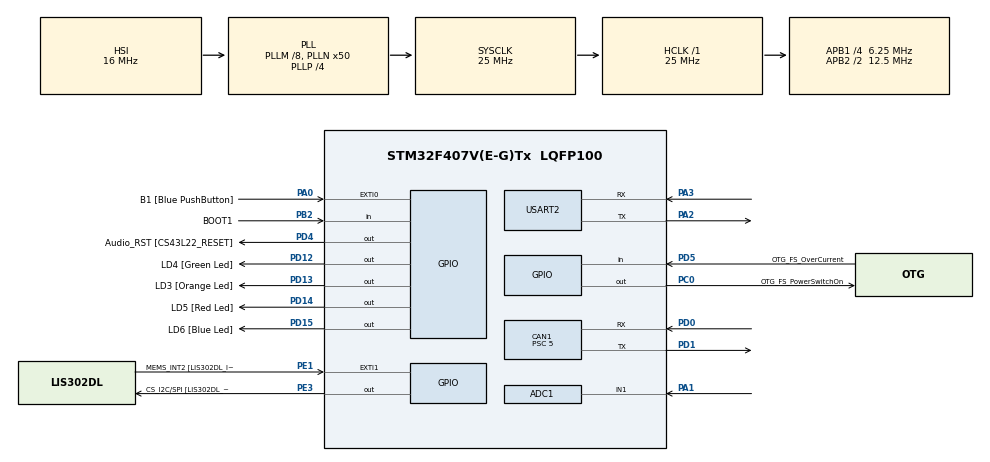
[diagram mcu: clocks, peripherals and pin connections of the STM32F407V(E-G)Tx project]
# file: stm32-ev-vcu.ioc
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ADC1.Channel-0\#ChannelRegularConversion=ADC_CHANNEL_1
ADC1.NbrOfConversionFlag=1
ADC1.Rank-0\#ChannelRegularConversion=1
ADC1.SamplingTime-0\#ChannelRegularConversion=ADC_SAMPLETIME_3CYCLES
ADC1.master=1
CAN1.BS1=CAN_BS1_3TQ
CAN1.CalculateBaudRate=250000
CAN1.CalculateTimeBit=4000
CAN1.CalculateTimeQuantum=800.0
CAN1.Prescaler=5
FREERTOS.Tasks01=defaultTask,24,128,StartDefaultTask,Default,NULL,Dynamic,NULL,NULL
Mcu.Family=STM32F4
Mcu.Name=STM32F407V(E-G)Tx
Mcu.Package=LQFP100
NVIC.CAN1_RX0_IRQn=true\:5\:0\:false\:false\:true\:true\:true\:true\:true
NVIC.PriorityGroup=NVIC_PRIORITYGROUP_4
NVIC.TIM6_DAC_IRQn=true\:15\:0\:false\:false\:true\:false\:false\:true\:true
NVIC.TimeBase=TIM6_DAC_IRQn
NVIC.TimeBaseIP=TIM6
PA0-WKUP.GPIO_Label=B1 [Blue PushButton]
PA0-WKUP.Signal=GPXTI0
PA1.Signal=ADCx_IN1
PA10.GPIO_Label=OTG_FS_ID
PA10.GPIO_Mode=GPIO_MODE_AF_PP
PA10.GPIO_PuPd=GPIO_NOPULL
PA10.GPIO_Speed=GPIO_SPEED_FREQ_LOW
PA10.Signal=USB_OTG_FS_ID
PA11.GPIO_Label=OTG_FS_DM
PA11.GPIO_Mode=GPIO_MODE_AF_PP
PA11.GPIO_PuPd=GPIO_NOPULL
PA11.GPIO_Speed=GPIO_SPEED_FREQ_LOW
PA11.Signal=USB_OTG_FS_DM
PA12.GPIO_Label=OTG_FS_DP
PA12.GPIO_Mode=GPIO_MODE_AF_PP
PA12.GPIO_PuPd=GPIO_NOPULL
PA12.GPIO_Speed=GPIO_SPEED_FREQ_LOW
PA12.Signal=USB_OTG_FS_DP
PA13.GPIO_Label=SWDIO
PA13.Signal=SYS_JTMS-SWDIO
PA14.GPIO_Label=SWCLK
PA14.Signal=SYS_JTCK-SWCLK
PA2.Mode=Asynchronous
PA2.Signal=USART2_TX
PA3.Mode=Asynchronous
PA3.Signal=USART2_RX
PA4.GPIO_Label=I2S3_WS [CS43L22_LRCK]
PA4.GPIO_Mode=GPIO_MODE_AF_PP
PA4.GPIO_PuPd=GPIO_NOPULL
PA4.GPIO_Speed=GPIO_SPEED_FREQ_LOW
PA4.Signal=I2S3_WS
PA5.GPIO_Label=SPI1_SCK [LIS302DL_SCL/SPC]
PA5.GPIO_Mode=GPIO_MODE_AF_PP
PA5.GPIO_PuPd=GPIO_NOPULL
PA5.GPIO_Speed=GPIO_SPEED_FREQ_LOW
PA5.Signal=SPI1_SCK
PA6.GPIO_Label=SPI1_MISO [LIS302DL_SDO]
PA6.GPIO_Mode=GPIO_MODE_AF_PP
PA6.GPIO_PuPd=GPIO_NOPULL
PA6.GPIO_Speed=GPIO_SPEED_FREQ_LOW
PA6.Signal=SPI1_MISO
PA7.GPIO_Label=SPI1_MOSI [LIS302DL_SDA/SDI/SDO]
PA7.GPIO_Mode=GPIO_MODE_AF_PP
PA7.GPIO_PuPd=GPIO_NOPULL
PA7.GPIO_Speed=GPIO_SPEED_FREQ_LOW
PA7.Signal=SPI1_MOSI
PA9.GPIO_Label=VBUS_FS
PA9.GPIO_Mode=GPIO_MODE_INPUT
PA9.GPIO_PuPd=GPIO_NOPULL
PA9.Signal=USB_OTG_FS_VBUS
PB10.GPIO_Label=CLK_IN [MP45DT02_CLK]
PB10.GPIO_Mode=GPIO_MODE_AF_PP
PB10.GPIO_PuPd=GPIO_NOPULL
PB10.GPIO_Speed=GPIO_SPEED_FREQ_LOW
PB10.Signal=I2S2_CK
PB2.GPIO_Label=BOOT1
PB2.GPIO_Mode=GPIO_MODE_INPUT
PB2.GPIO_PuPd=GPIO_NOPULL
PB2.Signal=GPIO_Input
PB3.GPIO_Label=SWO
PB3.Signal=SYS_JTDO-SWO
PB6.GPIO_Label=Audio_SCL [CS43L22_SCL]
PB6.GPIO_Mode=GPIO_MODE_AF_OD
PB6.GPIO_PuPd=GPIO_NOPULL
PB6.GPIO_Speed=GPIO_SPEED_FREQ_LOW
PB6.Signal=I2C1_SCL
PB9.GPIO_Label=Audio_SDA [CS43L22_SDA]
PB9.GPIO_Mode=GPIO_MODE_AF_OD
PB9.GPIO_PuPd=GPIO_NOPULL
PB9.GPIO_Speed=GPIO_SPEED_FREQ_LOW
PB9.Signal=I2C1_SDA
PC0.GPIO_Label=OTG_FS_PowerSwitchOn
PC0.GPIO_PuPd=GPIO_NOPULL
PC0.GPIO_Speed=GPIO_SPEED_FREQ_LOW
PC0.PinState=GPIO_PIN_SET
PC0.Signal=GPIO_Output
PC10.GPIO_Label=I2S3_SCK [CS43L22_SCLK]
PC10.GPIO_Mode=GPIO_MODE_AF_PP
PC10.GPIO_PuPd=GPIO_NOPULL
PC10.GPIO_Speed=GPIO_SPEED_FREQ_LOW
PC10.Signal=I2S3_CK
PC12.GPIO_Label=I2S3_SD [CS43L22_SDIN]
PC12.GPIO_Mode=GPIO_MODE_AF_PP
PC12.GPIO_PuPd=GPIO_NOPULL
PC12.GPIO_Speed=GPIO_SPEED_FREQ_LOW
PC12.Signal=I2S3_SD
PC14-OSC32_IN.GPIO_Label=PC14-OSC32_IN
PC14-OSC32_IN.Signal=RCC_OSC32_IN
PC15-OSC32_OUT.GPIO_Label=PC15-OSC32_OUT
PC15-OSC32_OUT.Signal=RCC_OSC32_OUT
PC3.GPIO_Label=PDM_OUT [MP45DT02_DOUT]
PC3.GPIO_Mode=GPIO_MODE_AF_PP
PC3.GPIO_PuPd=GPIO_NOPULL
PC3.GPIO_Speed=GPIO_SPEED_FREQ_LOW
PC3.Signal=I2S2_SD
PC7.GPIO_Label=I2S3_MCK [CS43L22_MCLK]
PC7.GPIO_Mode=GPIO_MODE_AF_PP
PC7.GPIO_PuPd=GPIO_NOPULL
PC7.GPIO_Speed=GPIO_SPEED_FREQ_LOW
PC7.Signal=I2S3_MCK
PD0.Mode=CAN_Activate
PD0.Signal=CAN1_RX
PD1.Mode=CAN_Activate
PD1.Signal=CAN1_TX
PD12.GPIO_Label=LD4 [Green Led]
PD12.GPIO_PuPd=GPIO_NOPULL
PD12.GPIO_Speed=GPIO_SPEED_FREQ_LOW
PD12.Signal=GPIO_Output
PD13.GPIO_Label=LD3 [Orange Led]
PD13.GPIO_PuPd=GPIO_NOPULL
PD13.GPIO_Speed=GPIO_SPEED_FREQ_LOW
PD13.Signal=GPIO_Output
PD14.GPIO_Label=LD5 [Red Led]
PD14.GPIO_PuPd=GPIO_NOPULL
PD14.GPIO_Speed=GPIO_SPEED_FREQ_LOW
PD14.Signal=GPIO_Output
PD15.GPIO_Label=LD6 [Blue Led]
PD15.GPIO_PuPd=GPIO_NOPULL
PD15.GPIO_Speed=GPIO_SPEED_FREQ_LOW
PD15.Signal=GPIO_Output
PD4.GPIO_Label=Audio_RST [CS43L22_RESET]
PD4.GPIO_PuPd=GPIO_NOPULL
PD4.GPIO_Speed=GPIO_SPEED_FREQ_LOW
PD4.Signal=GPIO_Output
PD5.GPIO_Label=OTG_FS_OverCurrent
PD5.GPIO_Mode=GPIO_MODE_INPUT
PD5.GPIO_PuPd=GPIO_NOPULL
PD5.Signal=GPIO_Input
PE1.GPIO_Label=MEMS_INT2 [LIS302DL_INT2]
PE1.GPIO_ModeDefaultEXTI=GPIO_MODE_EVT_RISING
PE1.GPIO_PuPd=GPIO_NOPULL
PE1.Signal=GPXTI1
PE3.GPIO_Label=CS_I2C/SPI [LIS302DL_CS_I2C/SPI]
PE3.GPIO_PuPd=GPIO_NOPULL
PE3.GPIO_Speed=GPIO_SPEED_FREQ_LOW
PE3.Signal=GPIO_Output
PH0-OSC_IN.GPIO_Label=PH0-OSC_IN
PH0-OSC_IN.Signal=RCC_OSC_IN
PH1-OSC_OUT.GPIO_Label=PH1-OSC_OUT
PH1-OSC_OUT.Signal=RCC_OSC_OUT
ProjectManager.HeapSize=0x200
ProjectManager.StackSize=0x400
ProjectManager.TargetToolchain=STM32CubeIDE
RCC.48MHZClocksFreq_Value=14285714.285714285
RCC.AHBFreq_Value=25000000
RCC.APB1CLKDivider=RCC_HCLK_DIV4
RCC.APB1Freq_Value=6250000
RCC.APB1TimFreq_Value=12500000
RCC.APB2CLKDivider=RCC_HCLK_DIV2
RCC.APB2Freq_Value=12500000
RCC.APB2TimFreq_Value=25000000
RCC.CortexFreq_Value=25000000
RCC.HCLKFreq_Value=25000000
RCC.HSE_VALUE=8000000
RCC.HSI_VALUE=16000000
RCC.LSE_VALUE=32768
RCC.PLLM=8
RCC.PLLN=50
RCC.PLLP=RCC_PLLP_DIV4
RCC.PLLQ=7
RCC.SYSCLKFreq_VALUE=25000000
RCC.SYSCLKSource=RCC_SYSCLKSOURCE_PLLCLK
RCC.VCOOutputFreq_Value=100000000
SH.ADCx_IN1.0=ADC1_IN1,IN1
USART2.VirtualMode=VM_ASYNC
VP_FREERTOS_VS_CMSIS_V2.Mode=CMSIS_V2
VP_SYS_VS_tim6.Mode=TIM6
board=STM32F407G-DISC1

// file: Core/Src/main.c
/* USER CODE BEGIN Header */

/**

  ******************************************************************************

  * @file           : main.c

  * @brief          : Main program body

  ******************************************************************************

  * @attention

  *

  * Copyright (c) 2026 STMicroelectronics.

  * All rights reserved.

  *

  * This software is licensed under terms that can be found in the LICENSE file

  * in the root directory of this software component.

  * If no LICENSE file comes with this software, it is provided AS-IS.

  *

  ******************************************************************************

  */

/* USER CODE END Header */
#include "main.h"
#include "cmsis_os.h"

/* USER CODE BEGIN Includes */
#include "app.h"
#include "can_bus.h"
#include "ev_config.h"
/* USER CODE END Includes */

ADC_HandleTypeDef hadc1;

CAN_HandleTypeDef hcan1;

UART_HandleTypeDef huart2;

/* Definitions for defaultTask */
osThreadId_t defaultTaskHandle;
const osThreadAttr_t defaultTask_attributes = {
  .name = "defaultTask",
  .stack_size = 128 * 4,
  .priority = (osPriority_t) osPriorityNormal,
};
/* USER CODE BEGIN PV */

/* DiagTask: trace/printf, low priority, slow (must not block control) */
osThreadId_t diagTaskHandle;
const osThreadAttr_t diagTask_attributes = {
  .name = "diagTask",
  .stack_size = 512 * 4,                 /* printf stack-hungry: 2 KB */
  .priority = (osPriority_t) osPriorityLow,
};

/* CanRxTask: decodes raw frames from the queue, high priority */
osThreadId_t canRxTaskHandle;
const osThreadAttr_t canRxTask_attributes = {
  .name = "canRxTask",
  .stack_size = 256 * 4,                 /* decode only, no printf: 1 KB */
  .priority = (osPriority_t) osPriorityAboveNormal,
};

/* USER CODE END PV */

void SystemClock_Config(void);
static void MX_GPIO_Init(void);
static void MX_ADC1_Init(void);
static void MX_USART2_UART_Init(void);
static void MX_CAN1_Init(void);
void StartDefaultTask(void *argument);

/* USER CODE BEGIN PFP */
void StartDiagTask(void *argument);
void StartCanRxTask(void *argument);
/* USER CODE END PFP */

int main(void)
{

  /* MCU Configuration--------------------------------------------------------*/

  /* Reset of all peripherals, Initializes the Flash interface and the Systick. */
  HAL_Init();

  /* Configure the system clock */
  SystemClock_Config();

  /* Initialize all configured peripherals */
  MX_GPIO_Init();
  MX_ADC1_Init();
  MX_USART2_UART_Init();
  MX_CAN1_Init();
  /* USER CODE BEGIN 2 */
  App_Init();
  /* USER CODE END 2 */

  /* Init scheduler */
  osKernelInitialize();

  /* USER CODE BEGIN RTOS_QUEUES */
  /* Create the RX queue + status mutex (must be after kernel init) */
  CanBus_Init(&hcan1);
  /* USER CODE END RTOS_QUEUES */

  /* Create the thread(s) */
  /* creation of defaultTask */
  defaultTaskHandle = osThreadNew(StartDefaultTask, NULL, &defaultTask_attributes);

  /* USER CODE BEGIN RTOS_THREADS */
  diagTaskHandle = osThreadNew(StartDiagTask, NULL, &diagTask_attributes);
  canRxTaskHandle = osThreadNew(StartCanRxTask, NULL, &canRxTask_attributes);
  /* USER CODE END RTOS_THREADS */

  /* Start scheduler */
  osKernelStart();

  /* We should never get here as control is now taken by the scheduler */

  /* Infinite loop */
  while (1)
  {

    /* USER CODE BEGIN 3 */
    /* osKernelStart() */
  /* USER CODE END 3 */
  }
}

void SystemClock_Config(void)
{
  RCC_OscInitTypeDef RCC_OscInitStruct = {0};
  RCC_ClkInitTypeDef RCC_ClkInitStruct = {0};

  /** Configure the main internal regulator output voltage
  */
  __HAL_RCC_PWR_CLK_ENABLE();
  __HAL_PWR_VOLTAGESCALING_CONFIG(PWR_REGULATOR_VOLTAGE_SCALE1);

  /** Initializes the RCC Oscillators according to the specified parameters
  * in the RCC_OscInitTypeDef structure.
  */
  RCC_OscInitStruct.OscillatorType = RCC_OSCILLATORTYPE_HSI;
  RCC_OscInitStruct.HSIState = RCC_HSI_ON;
  RCC_OscInitStruct.HSICalibrationValue = RCC_HSICALIBRATION_DEFAULT;
  RCC_OscInitStruct.PLL.PLLState = RCC_PLL_ON;
  RCC_OscInitStruct.PLL.PLLSource = RCC_PLLSOURCE_HSI;
  RCC_OscInitStruct.PLL.PLLM = 8;
  RCC_OscInitStruct.PLL.PLLN = 50;
  RCC_OscInitStruct.PLL.PLLP = RCC_PLLP_DIV4;
  RCC_OscInitStruct.PLL.PLLQ = 7;
  if (HAL_RCC_OscConfig(&RCC_OscInitStruct) != HAL_OK)
  {
    Error_Handler();
  }

  /** Initializes the CPU, AHB and APB buses clocks
  */
  RCC_ClkInitStruct.ClockType = RCC_CLOCKTYPE_HCLK|RCC_CLOCKTYPE_SYSCLK
                              |RCC_CLOCKTYPE_PCLK1|RCC_CLOCKTYPE_PCLK2;
  RCC_ClkInitStruct.SYSCLKSource = RCC_SYSCLKSOURCE_PLLCLK;
  RCC_ClkInitStruct.AHBCLKDivider = RCC_SYSCLK_DIV1;
  RCC_ClkInitStruct.APB1CLKDivider = RCC_HCLK_DIV4;
  RCC_ClkInitStruct.APB2CLKDivider = RCC_HCLK_DIV2;

  if (HAL_RCC_ClockConfig(&RCC_ClkInitStruct, FLASH_LATENCY_0) != HAL_OK)
  {
    Error_Handler();
  }
}

static void MX_ADC1_Init(void)
{

  ADC_ChannelConfTypeDef sConfig = {0};

  /** Configure the global features of the ADC (Clock, Resolution, Data Alignment and number of conversion)
  */
  hadc1.Instance = ADC1;
  hadc1.Init.ClockPrescaler = ADC_CLOCK_SYNC_PCLK_DIV2;
  hadc1.Init.Resolution = ADC_RESOLUTION_12B;
  hadc1.Init.ScanConvMode = DISABLE;
  hadc1.Init.ContinuousConvMode = DISABLE;
  hadc1.Init.DiscontinuousConvMode = DISABLE;
  hadc1.Init.ExternalTrigConvEdge = ADC_EXTERNALTRIGCONVEDGE_NONE;
  hadc1.Init.ExternalTrigConv = ADC_SOFTWARE_START;
  hadc1.Init.DataAlign = ADC_DATAALIGN_RIGHT;
  hadc1.Init.NbrOfConversion = 1;
  hadc1.Init.DMAContinuousRequests = DISABLE;
  hadc1.Init.EOCSelection = ADC_EOC_SINGLE_CONV;
  if (HAL_ADC_Init(&hadc1) != HAL_OK)
  {
    Error_Handler();
  }

  /** Configure for the selected ADC regular channel its corresponding rank in the sequencer and its sample time.
  */
  sConfig.Channel = ADC_CHANNEL_1;
  sConfig.Rank = 1;
  sConfig.SamplingTime = ADC_SAMPLETIME_3CYCLES;
  if (HAL_ADC_ConfigChannel(&hadc1, &sConfig) != HAL_OK)
  {
    Error_Handler();
  }

}

static void MX_CAN1_Init(void)
{

  hcan1.Instance = CAN1;
  hcan1.Init.Prescaler = 5;
  hcan1.Init.Mode = CAN_MODE_NORMAL;
  hcan1.Init.SyncJumpWidth = CAN_SJW_1TQ;
  hcan1.Init.TimeSeg1 = CAN_BS1_3TQ;
  hcan1.Init.TimeSeg2 = CAN_BS2_1TQ;
  hcan1.Init.TimeTriggeredMode = DISABLE;
  hcan1.Init.AutoBusOff = DISABLE;
  hcan1.Init.AutoWakeUp = DISABLE;
  hcan1.Init.AutoRetransmission = DISABLE;
  hcan1.Init.ReceiveFifoLocked = DISABLE;
  hcan1.Init.TransmitFifoPriority = DISABLE;
  if (HAL_CAN_Init(&hcan1) != HAL_OK)
  {
    Error_Handler();
  }

}

static void MX_USART2_UART_Init(void)
{

  huart2.Instance = USART2;
  huart2.Init.BaudRate = 115200;
  huart2.Init.WordLength = UART_WORDLENGTH_8B;
  huart2.Init.StopBits = UART_STOPBITS_1;
  huart2.Init.Parity = UART_PARITY_NONE;
  huart2.Init.Mode = UART_MODE_TX_RX;
  huart2.Init.HwFlowCtl = UART_HWCONTROL_NONE;
  huart2.Init.OverSampling = UART_OVERSAMPLING_16;
  if (HAL_UART_Init(&huart2) != HAL_OK)
  {
    Error_Handler();
  }

}

static void MX_GPIO_Init(void)
{
  GPIO_InitTypeDef GPIO_InitStruct = {0};

  /* GPIO Ports Clock Enable */
  __HAL_RCC_GPIOE_CLK_ENABLE();
  __HAL_RCC_GPIOC_CLK_ENABLE();
  __HAL_RCC_GPIOH_CLK_ENABLE();
  __HAL_RCC_GPIOA_CLK_ENABLE();
  __HAL_RCC_GPIOB_CLK_ENABLE();
  __HAL_RCC_GPIOD_CLK_ENABLE();

  /*Configure GPIO pin Output Level */
  HAL_GPIO_WritePin(CS_I2C_SPI_GPIO_Port, CS_I2C_SPI_Pin, GPIO_PIN_RESET);

  /*Configure GPIO pin Output Level */
  HAL_GPIO_WritePin(OTG_FS_PowerSwitchOn_GPIO_Port, OTG_FS_PowerSwitchOn_Pin, GPIO_PIN_SET);

  /*Configure GPIO pin Output Level */
  HAL_GPIO_WritePin(GPIOD, LD4_Pin|LD3_Pin|LD5_Pin|LD6_Pin
                          |Audio_RST_Pin, GPIO_PIN_RESET);

  /*Configure GPIO pin : CS_I2C_SPI_Pin */
  GPIO_InitStruct.Pin = CS_I2C_SPI_Pin;
  GPIO_InitStruct.Mode = GPIO_MODE_OUTPUT_PP;
  GPIO_InitStruct.Pull = GPIO_NOPULL;
  GPIO_InitStruct.Speed = GPIO_SPEED_FREQ_LOW;
  HAL_GPIO_Init(CS_I2C_SPI_GPIO_Port, &GPIO_InitStruct);

  /*Configure GPIO pin : OTG_FS_PowerSwitchOn_Pin */
  GPIO_InitStruct.Pin = OTG_FS_PowerSwitchOn_Pin;
  GPIO_InitStruct.Mode = GPIO_MODE_OUTPUT_PP;
  GPIO_InitStruct.Pull = GPIO_NOPULL;
  GPIO_InitStruct.Speed = GPIO_SPEED_FREQ_LOW;
  HAL_GPIO_Init(OTG_FS_PowerSwitchOn_GPIO_Port, &GPIO_InitStruct);

  /*Configure GPIO pin : PDM_OUT_Pin */
  GPIO_InitStruct.Pin = PDM_OUT_Pin;
  GPIO_InitStruct.Mode = GPIO_MODE_AF_PP;
  GPIO_InitStruct.Pull = GPIO_NOPULL;
  GPIO_InitStruct.Speed = GPIO_SPEED_FREQ_LOW;
  GPIO_InitStruct.Alternate = GPIO_AF5_SPI2;
  HAL_GPIO_Init(PDM_OUT_GPIO_Port, &GPIO_InitStruct);

  /*Configure GPIO pin : B1_Pin */
  GPIO_InitStruct.Pin = B1_Pin;
  GPIO_InitStruct.Mode = GPIO_MODE_IT_RISING;
  GPIO_InitStruct.Pull = GPIO_NOPULL;
  HAL_GPIO_Init(B1_GPIO_Port, &GPIO_InitStruct);

  /*Configure GPIO pin : I2S3_WS_Pin */
  GPIO_InitStruct.Pin = I2S3_WS_Pin;
  GPIO_InitStruct.Mode = GPIO_MODE_AF_PP;
  GPIO_InitStruct.Pull = GPIO_NOPULL;
  GPIO_InitStruct.Speed = GPIO_SPEED_FREQ_LOW;
  GPIO_InitStruct.Alternate = GPIO_AF6_SPI3;
  HAL_GPIO_Init(I2S3_WS_GPIO_Port, &GPIO_InitStruct);

  /*Configure GPIO pins : SPI1_SCK_Pin SPI1_MISO_Pin SPI1_MOSI_Pin */
  GPIO_InitStruct.Pin = SPI1_SCK_Pin|SPI1_MISO_Pin|SPI1_MOSI_Pin;
  GPIO_InitStruct.Mode = GPIO_MODE_AF_PP;
  GPIO_InitStruct.Pull = GPIO_NOPULL;
  GPIO_InitStruct.Speed = GPIO_SPEED_FREQ_LOW;
  GPIO_InitStruct.Alternate = GPIO_AF5_SPI1;
  HAL_GPIO_Init(GPIOA, &GPIO_InitStruct);

  /*Configure GPIO pin : BOOT1_Pin */
  GPIO_InitStruct.Pin = BOOT1_Pin;
  GPIO_InitStruct.Mode = GPIO_MODE_INPUT;
  GPIO_InitStruct.Pull = GPIO_NOPULL;
  HAL_GPIO_Init(BOOT1_GPIO_Port, &GPIO_InitStruct);

  /*Configure GPIO pin : CLK_IN_Pin */
  GPIO_InitStruct.Pin = CLK_IN_Pin;
  GPIO_InitStruct.Mode = GPIO_MODE_AF_PP;
  GPIO_InitStruct.Pull = GPIO_NOPULL;
  GPIO_InitStruct.Speed = GPIO_SPEED_FREQ_LOW;
  GPIO_InitStruct.Alternate = GPIO_AF5_SPI2;
  HAL_GPIO_Init(CLK_IN_GPIO_Port, &GPIO_InitStruct);

  /*Configure GPIO pins : LD4_Pin LD3_Pin LD5_Pin LD6_Pin
                           Audio_RST_Pin */
  GPIO_InitStruct.Pin = LD4_Pin|LD3_Pin|LD5_Pin|LD6_Pin
                          |Audio_RST_Pin;
  GPIO_InitStruct.Mode = GPIO_MODE_OUTPUT_PP;
  GPIO_InitStruct.Pull = GPIO_NOPULL;
  GPIO_InitStruct.Speed = GPIO_SPEED_FREQ_LOW;
  HAL_GPIO_Init(GPIOD, &GPIO_InitStruct);

  /*Configure GPIO pins : I2S3_MCK_Pin I2S3_SCK_Pin I2S3_SD_Pin */
  GPIO_InitStruct.Pin = I2S3_MCK_Pin|I2S3_SCK_Pin|I2S3_SD_Pin;
  GPIO_InitStruct.Mode = GPIO_MODE_AF_PP;
  GPIO_InitStruct.Pull = GPIO_NOPULL;
  GPIO_InitStruct.Speed = GPIO_SPEED_FREQ_LOW;
  GPIO_InitStruct.Alternate = GPIO_AF6_SPI3;
  HAL_GPIO_Init(GPIOC, &GPIO_InitStruct);

  /*Configure GPIO pin : VBUS_FS_Pin */
  GPIO_InitStruct.Pin = VBUS_FS_Pin;
  GPIO_InitStruct.Mode = GPIO_MODE_INPUT;
  GPIO_InitStruct.Pull = GPIO_NOPULL;
  HAL_GPIO_Init(VBUS_FS_GPIO_Port, &GPIO_InitStruct);

  /*Configure GPIO pins : OTG_FS_ID_Pin OTG_FS_DM_Pin OTG_FS_DP_Pin */
  GPIO_InitStruct.Pin = OTG_FS_ID_Pin|OTG_FS_DM_Pin|OTG_FS_DP_Pin;
  GPIO_InitStruct.Mode = GPIO_MODE_AF_PP;
  GPIO_InitStruct.Pull = GPIO_NOPULL;
  GPIO_InitStruct.Speed = GPIO_SPEED_FREQ_LOW;
  GPIO_InitStruct.Alternate = GPIO_AF10_OTG_FS;
  HAL_GPIO_Init(GPIOA, &GPIO_InitStruct);

  /*Configure GPIO pin : OTG_FS_OverCurrent_Pin */
  GPIO_InitStruct.Pin = OTG_FS_OverCurrent_Pin;
  GPIO_InitStruct.Mode = GPIO_MODE_INPUT;
  GPIO_InitStruct.Pull = GPIO_NOPULL;
  HAL_GPIO_Init(OTG_FS_OverCurrent_GPIO_Port, &GPIO_InitStruct);

  /*Configure GPIO pins : Audio_SCL_Pin Audio_SDA_Pin */
  GPIO_InitStruct.Pin = Audio_SCL_Pin|Audio_SDA_Pin;
  GPIO_InitStruct.Mode = GPIO_MODE_AF_OD;
  GPIO_InitStruct.Pull = GPIO_NOPULL;
  GPIO_InitStruct.Speed = GPIO_SPEED_FREQ_LOW;
  GPIO_InitStruct.Alternate = GPIO_AF4_I2C1;
  HAL_GPIO_Init(GPIOB, &GPIO_InitStruct);

  /*Configure GPIO pin : MEMS_INT2_Pin */
  GPIO_InitStruct.Pin = MEMS_INT2_Pin;
  GPIO_InitStruct.Mode = GPIO_MODE_EVT_RISING;
  GPIO_InitStruct.Pull = GPIO_NOPULL;
  HAL_GPIO_Init(MEMS_INT2_GPIO_Port, &GPIO_InitStruct);

}

/* USER CODE BEGIN 4 */

/* DiagTask body: dump the trace every CAN_TRACE_PERIOD_MS. Low priority,
   the slow printf lives here -> never blocks the critical ControlTask. */
void StartDiagTask(void *argument)
{
  (void)argument;
  for(;;)
  {
    App_DiagStep();
    osDelay(CAN_TRACE_PERIOD_MS);
  }
}

/* CanRxTask body: start CAN, then process frames from the queue.
   Blocks while the queue is empty (no CPU spent), wakes on arrival. */
void StartCanRxTask(void *argument)
{
  (void)argument;
  CanBus_Start();                  /* filter + start + RX interrupt */
  for(;;)
  {
    CanBus_ProcessRx(osWaitForever);
  }
}

/* USER CODE END 4 */

void StartDefaultTask(void *argument)
{
  /* USER CODE BEGIN 5 */
  (void)argument;

  for(;;)
  {
    App_ControlStep();
    osDelay(10);      /* osDelay instead of HAL_Delay: yields the CPU to other tasks */
  }
  /* USER CODE END 5 */
}

void HAL_TIM_PeriodElapsedCallback(TIM_HandleTypeDef *htim)
{
  if (htim->Instance == TIM6)
  {
    HAL_IncTick();
  }
}

void Error_Handler(void)
{
  __disable_irq();
  while (1)
  {
  }
}
